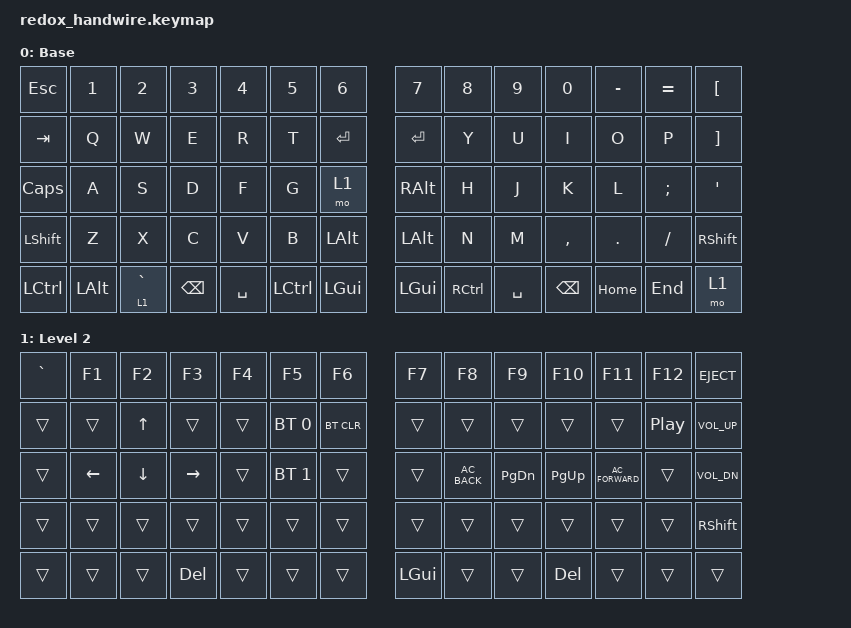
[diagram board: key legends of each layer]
#include <behaviors.dtsi>
#include <dt-bindings/zmk/keys.h>
#include <dt-bindings/zmk/bt.h>

/*
 * Redox handwire - starting keymap.
 *
 * The goal of THIS layer is only that every physical key registers something
 * when you test. The legend-to-physical-key mapping almost certainly won't be
 * perfect on the first flash (that's normal for a handwire). Press each key,
 * see what appears, then rearrange the bindings below so each key sits where
 * you want it.
 *
 * Each row below is 14 keys: 7 left, then 7 right.
 */

/ {
    keymap {
        compatible = "zmk,keymap";

        default_layer {
            display-name = "Base";
            bindings = <
&kp ESC    &kp N1    &kp N2       &kp N3    &kp N4     &kp N5     &kp N6    /*Split*/  &kp N7    &kp N8     &kp N9     &kp N0     &kp MINUS  &kp EQUAL  &kp LBKT
&kp TAB    &kp Q     &kp W        &kp E     &kp R      &kp T      &kp RET   /*Split*/  &kp RET   &kp Y      &kp U      &kp I      &kp O      &kp P      &kp RBKT
&kp CAPS   &kp A     &kp S        &kp D     &kp F      &kp G      &mo 1     /*Split*/  &kp RALT  &kp H      &kp J      &kp K      &kp L      &kp SEMI   &kp SQT
&kp LSHFT  &kp Z     &kp X        &kp C     &kp V      &kp B      &kp LALT  /*Split*/  &kp LALT  &kp N      &kp M      &kp COMMA  &kp DOT    &kp FSLH   &kp RSHFT
&kp LCTRL  &kp LALT  &lt 1 GRAVE  &kp BSPC  &kp SPACE  &kp LCTRL  &kp LGUI  /*Split*/  &kp LGUI  &kp RCTRL  &kp SPACE  &kp BSPC   &kp HOME   &kp END    &mo 1
            >;
        };

        /*
         * Fn-style layer: hold left row2/col6 or right row4/col6 (&mo 1),
         * or hold the left thumb key (&lt 1 GRAVE, tap = grave/backtick).
         * Bluetooth profile switching lives here (BT_SEL 0/1, BT_CLR) -
         * there is no &studio_unlock binding on this layer since Studio is
         * unlocked via the dedicated physical button on pro_micro pin 0
         * instead (see redox_handwire_left.overlay).
         */
        studio_layer {
            display-name = "Level 2";
            bindings = <
&kp GRAVE  &kp F1    &kp F2    &kp F3     &kp F4  &kp F5        &kp F6      /*Split*/  &kp F7    &kp F8         &kp F9     &kp F10    &kp F11           &kp F12           &kp C_EJECT
&trans     &trans    &kp UP    &trans     &trans  &bt BT_SEL 0  &bt BT_CLR  /*Split*/  &trans    &trans         &trans     &trans     &trans            &kp C_PLAY_PAUSE  &kp C_VOL_UP
&trans     &kp LEFT  &kp DOWN  &kp RIGHT  &trans  &bt BT_SEL 1  &trans      /*Split*/  &trans    &kp C_AC_BACK  &kp PG_DN  &kp PG_UP  &kp C_AC_FORWARD  &trans            &kp C_VOL_DN
&trans     &trans    &trans    &trans     &trans  &trans        &trans      /*Split*/  &trans    &trans         &trans     &trans     &trans            &trans            &kp RSHFT
&trans     &trans    &trans    &kp DEL    &trans  &trans        &trans      /*Split*/  &kp LGUI  &trans         &trans     &kp DEL    &trans            &trans            &trans
            >;
        };
    };
};
